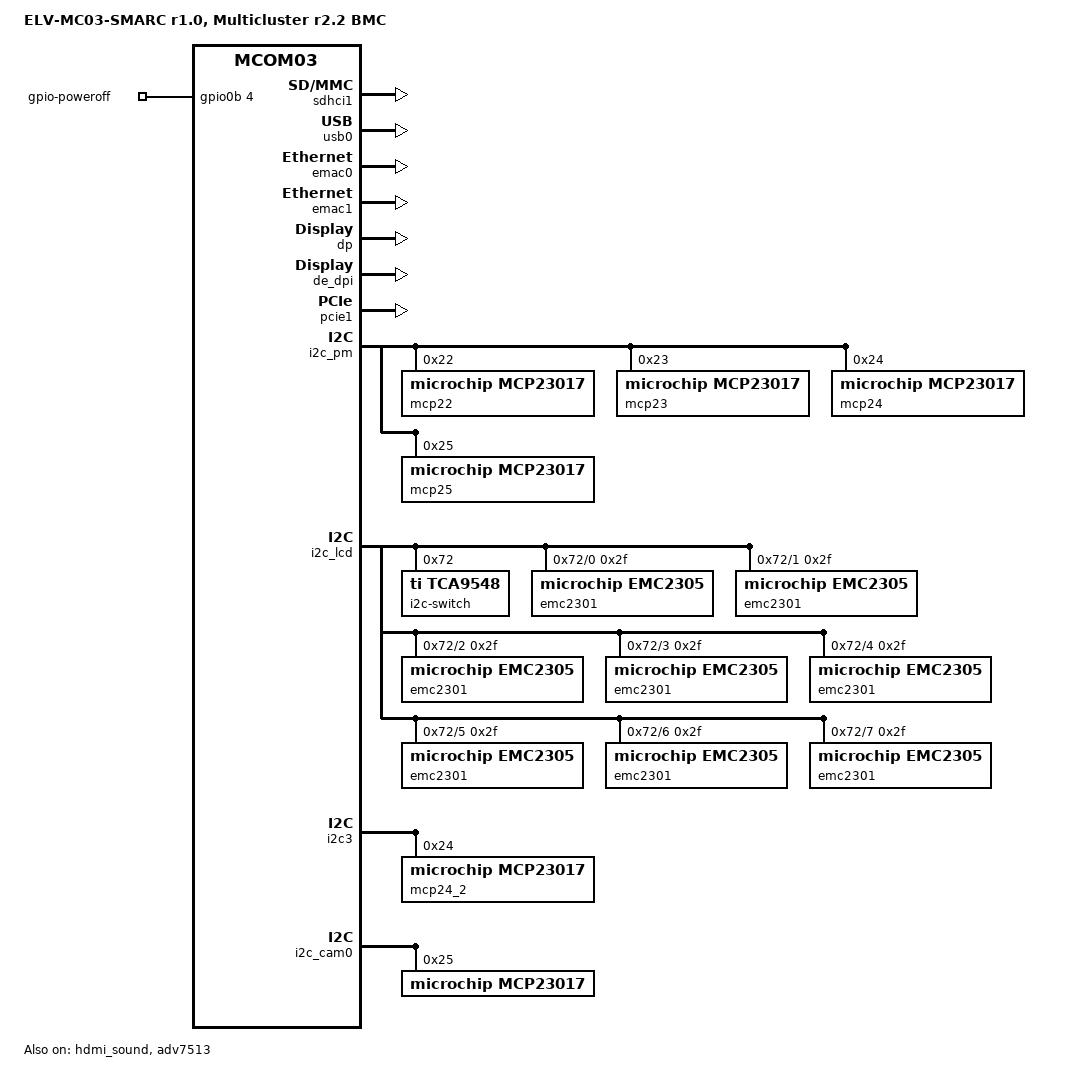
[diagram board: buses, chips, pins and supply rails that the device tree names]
// SPDX-License-Identifier: GPL-2.0+
// Copyright 2025 RnD Center "ELVEES", JSC

/dts-v1/;

#include <dt-bindings/gpio/gpio.h>

#include "mcom03-elvmc03smarc-r1.0.dtsi"

/ {
	model = "ELV-MC03-SMARC r1.0, Multicluster r2.2 BMC";
	compatible = "elvees,elvmc03smarc-r1.0-multicluster-r2.2-bmc",
			"elvees,elvmc03smarc-r1.0-multicluster-r2.2",
			"elvees,elvmc03smarc-multicluster",
			"elvees,multicluster-r2.2",
			"elvees,multicluster",
			"elvees,elvmc03smarc-r1.0",
			"elvees,elvmc03smarc",
			"elvees,mcom03";
	aliases {
		i2c11 = &i2c_fan1;
		i2c12 = &i2c_fan2;
		i2c13 = &i2c_fan3;
		i2c14 = &i2c_fan4;
		i2c15 = &i2c_fan5;
		i2c16 = &i2c_fan6;
		i2c17 = &i2c_fan7;
		i2c18 = &i2c_fan8;
		i2c10 = &i2c_lcd;
	};
	chosen {
		stdout-path = "serial0:115200n8";
	};
	gpio-poweroff {
		compatible = "gpio-poweroff";
		gpios = <&gpio0b 4 GPIO_ACTIVE_HIGH>;
		timeout-ms = <10000>;
		active-delay-ms = <3000>;
		input;
		force;
	};
};

/* Connected to MicroSD card */
&sdhci1 {
	status = "okay";
	/* Disable 1.8V support
	 * Disable SDR50, SDR104 and DDR50 support
	 */
	sdhci-caps-mask = <0x7 0x4000000>;
	sdhci-caps = <0x0 0x0>;
	/* "TODO: check if disable-wp required" */
	disable-wp;
};

/* Connected to USB 3.0 Type-C */
&usb0 {
	status = "okay";
};

/* Connected to RJ-45 */
&emac0 {
	status = "okay";
};
&emac1 {
	status = "okay";
};

/* Board have video output interface */
&dp {
	status = "okay";
};

&hdmi_sound {
	status = "okay";
};

/* Connected to HDMI plug */
&adv7513 {
	status = "okay";
};

&de_dpi {
	status = "okay";
};

/* Connected to M.2 slot */
&pcie1 {
	status = "okay";
};

&i2c_pm {
	status = "okay";
	/* DD71 */
	mcp22:mcp2301722@22 {
		compatible = "microchip,mcp23017";
		reg = <0x22>;
		gpio-line-names = "S7_RESET",
						"S6_RESET",
						"S8_RESET",
						"S3_RESET",
						"S5_RESET",
						"S1_RESET",
						"S4_RESET",
						"S2_RESET",
						"EN_POWER_S7",
						"EN_POWER_S6",
						"EN_POWER_S8",
						"EN_POWER_S3",
						"EN_POWER_S5",
						"EN_POWER_S1",
						"EN_POWER_S4",
						"EN_POWER_S2";
	};
	mcp23:mcp2301723@23 {
		compatible = "microchip,mcp23017";
		gpio-line-names = "S7_SEL0",
						"S7_SEL1",
						"S6_SEL0",
						"S6_SEL1",
						"S8_SEL0",
						"S8_SEL1",
						"S3_SEL0",
						"S3_SEL1",
						"S5_SEL0",
						"S5_SEL1",
						"S1_SEL0",
						"S1_SEL1",
						"S4_SEL0",
						"S4_SEL1",
						"S2_SEL0",
						"S2_SEL1";
		reg = <0x23>;
	};
	mcp24:mcp2301724@24 {
		compatible = "microchip,mcp23017";
		gpio-line-names = "HUB_DIS_8051",
						"HUB_EN_FLASH",
						"I2C_SWITCH_S1",
						"I2C_SWITCH_S2",
						"HUB_SMI_SEL0",
						"HUB_SMI_SEL1",
						"HUB_DIS_AUTOLOAD",
						"",
						"SMARC7_PG",
						"SMARC6_PG",
						"SMARC8_PG",
						"SMARC3_PG",
						"SMARC5_PG",
						"SMARC1_PG",
						"SMARC4_PG",
						"SMARC2_PG";
		reg = <0x24>;
	};
	mcp25:mcp2301724@25 {
		compatible = "microchip,mcp23017";
		gpio-line-names = "S7_CARRIER_PWR_ON",
						"S6_CARRIER_PWR_ON",
						"S8_CARRIER_PWR_ON",
						"S3_CARRIER_PWR_ON",
						"S5_CARRIER_PWR_ON",
						"S1_CARRIER_PWR_ON",
						"S4_CARRIER_PWR_ON",
						"S2_CARRIER_PWR_ON",
						"S7_PWR_OFF_REQ",
						"S6_PWR_OFF_REQ",
						"S8_PWR_OFF_REQ",
						"S3_PWR_OFF_REQ",
						"S5_PWR_OFF_REQ",
						"S1_PWR_OFF_REQ",
						"S4_PWR_OFF_REQ",
						"S2_PWR_OFF_REQ";
		reg = <0x25>;
	};
};

&gpio0c {
	gpio-line-names = "SPI0_CK", "SPI0_DO", "SPI0_DIN", "LED_RED",
					"SPI0_CS0#", "SPI0_CS1#", "", "RGMII_1_RST#";
};

&lsperiph0_pinctrl {
	mdiosw {
		pins = "GPIOC_6 GPIOB_0 GPIOB_3" ;
		input-enable;
	};
};

&lsperiph1_pinctrl {
	hdmi_int: hdmi-int {
		pins = "GPIOA_3";
		input-enable;
	};
};

&gpio1a {
	gpio-line-names = "I2C1_SCL", "I2C1_SDA", "MDC", "MDIO",
					"I2C3_SCL", "I2C3_SDA", "HDMI_INT", "RTC_INT";
};

&gpio1c {
	gpio-line-names = "BMC_SELECT_MII", "GPIO4", "", "",
					"BMC_ATX_PWR_OK", "CARRIER_PWR_ON",
					"FORCE_RECOV#", "SLEEP#";
};

&gpio0a {
	gpio-line-names = "UART3_RX", "UART3_TX", "RESERV2",
					"INT_INTS1", "PWR_SW_PRESSED", "",
					"INT_INTS2", "GPIO_RESET";
};

&gpio1d {
	gpio-line-names = "CARRIER_STBY#", "", "PWM_OUT", "LCD0_BKLT_PWM",
		"LCD0_BKLT_EN", "PSTANDBY", "BMC_GPIO6", "RESET_OUT#";
};

&gpio0b {
	status = "okay";
	gpio-line-names = "", "", "ATX_PRESENT", "EXT_ID_BTN", "BMC_PWR_SWITCH", "", "", "";
	pci-perstn {
		status = "disabled";
	};
	sata-perstn {
		status = "disabled";
	};
};

&i2c_lcd {
	status = "okay";
	i2c-switch@72 {
		compatible = "ti,tca9548", "nxp,pca9548";
		#address-cells = <1>;
		#size-cells = <0>;
		reg = <0x72>;
		i2c_fan1: i2c@0 {
			#address-cells = <1>;
			#size-cells = <0>;
			reg = <0>;
			emc2301@2f {
				compatible = "microchip,emc2305";
				reg = <0x2f>;
				#address-cells = <1>;
				#size-cells = <0>;
				microchip,pwm-separate;
				#cooling-cells = <2>;
				channel@0 {
					reg = <0>;
					microchip,pwm-push-pull;
				};
			};
		};
		i2c_fan2: i2c@1 {
			#address-cells = <1>;
			#size-cells = <0>;
			reg = <1>;
			emc2301@2f {
				compatible = "microchip,emc2305";
				reg = <0x2f>;
			};
		};
		i2c_fan3: i2c@2 {
			#address-cells = <1>;
			#size-cells = <0>;
			reg = <2>;
			emc2301@2f {
				compatible = "microchip,emc2305";
				reg = <0x2f>;
			};
		};
		i2c_fan4: i2c@3 {
			#address-cells = <1>;
			#size-cells = <0>;
			reg = <3>;
			emc2301@2f {
				compatible = "microchip,emc2305";
				reg = <0x2f>;
			};
		};
		i2c_fan5: i2c@4 {
			#address-cells = <1>;
			#size-cells = <0>;
			reg = <4>;
			emc2301@2f {
				compatible = "microchip,emc2305";
				reg = <0x2f>;
			};
		};
		i2c_fan6: i2c@5 {
			#address-cells = <1>;
			#size-cells = <0>;
			reg = <5>;
			emc2301@2f {
				compatible = "microchip,emc2305";
				reg = <0x2f>;
			};
		};
		i2c_fan7: i2c@6 {
			#address-cells = <1>;
			#size-cells = <0>;
			reg = <6>;
			emc2301@2f {
				compatible = "microchip,emc2305";
				reg = <0x2f>;
			};
		};
		i2c_fan8: i2c@7 {
			#address-cells = <1>;
			#size-cells = <0>;
			reg = <7>;
			emc2301@2f {
				compatible = "microchip,emc2305";
				reg = <0x2f>;
			};
		};
	};
};


&i2c3 {
	status = "okay";
	/* DD72 */
	mcp24_2:mcp23017242@24 {
		compatible = "microchip,mcp23017";
		gpio-line-names = "FAN_ALERT1",
						"FAN_ALERT2",
						"FAN_ALERT3",
						"FAN_ALERT4",
						"FAN_ALERT5",
						"FAN_ALERT6",
						"FAN_ALERT7",
						"FAN_ALERT8",
						"FAN_SELECT1",
						"FAN_SELECT2",
						"FAN_SELECT3",
						"FAN_SELECT4",
						"FAN_SELECT5",
						"FAN_SELECT6",
						"FAN_SELECT7",
						"FAN_SELECT8";
		reg = <0x24>;
	};
};

&i2c_cam0 {
	status = "okay";
	mcp23017:gpio-expander@25 {
		compatible = "microchip,mcp23017";
		reg = <0x25>;
		gpio-controller;
		#gpio-cells = <2>;
		gpio-line-names =
						"HUB_INT_R",
						"PHY1_INTB",
						"PHY2_INTB",
						"HUB_nRESET",
						"PHY1_PHYRSTB_3V3",
						"PHY2_PHYRSTB_3V3",
						"1V1_ETH_SHITCH_PG",
						"1V8_GLOBAL_PG",
						"POWER_LED",
						"ID_LED",
						"HDD_LED",
						"WARN_LED",
						"",
						"SMBUS_ALERT_3V3",
						"INT_FANS_ALERT",
						"RESET_i2c_SWITCH";
	};
	phy1_res {
		gpio-hog;
		gpios = <4 GPIO_ACTIVE_HIGH>;
		output-high;
		line-name = "PHY1_PHYRSTB";
	};
	phy2_res {
		gpio-hog;
		gpios = <5 GPIO_ACTIVE_HIGH>;
		output-high;
		line-name = "PHY2_PHYRSTB";
	};
};
